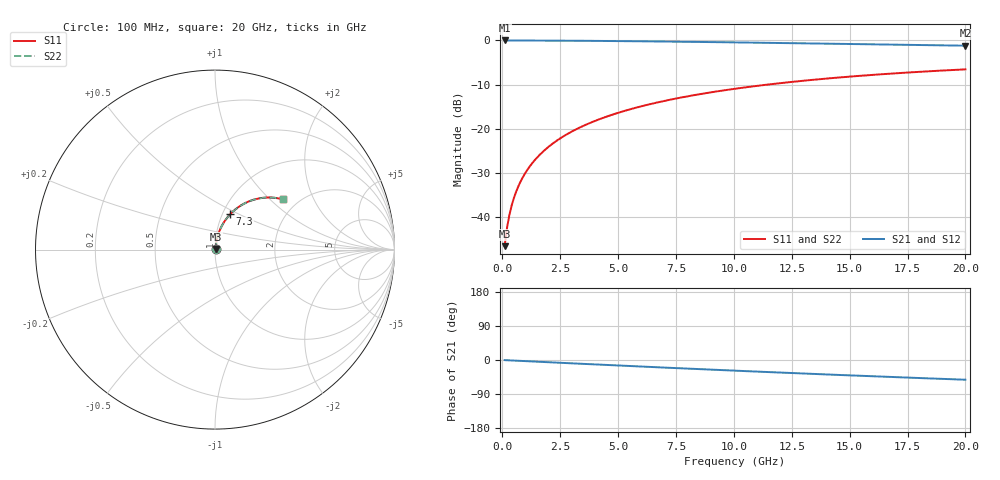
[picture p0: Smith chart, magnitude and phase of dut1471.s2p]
! Touchstone file exported from HFSS 2026.1.0
!  File:  C:/ffzhzh/LocalFiles/Ansys_Project_Files/temp_train_BSMRDL_1471_1783181106_22436.aedt
!  Generated:  12:06:29 AM Jul  5, 2026
!  Design:  BSMRDL
!  Project:  temp_train_BSMRDL_1471_1783181106_22436
! Variables:
!  h_bsmrdl = 4.64um
!  h_ox = 20um
!  h_rdl = 5um
!  h_sub = 80um
!  h_tmrdl = 5um
!  h_tsv = 80um
!  h_via = 3um
!  l_bsmrdl = 786.39um
!  l_sub = 1186.39um
!  l_tmrdl = 200um
!  m_sub = 200um
!  pitch = 48.1um
!  r_tsv = 6um
!  s_tmrdl = 10um
!  w_bsmrdl = 18.75um
!  w_sub = 500um
!  w_tmrdl = 12um
!  x_tsv_center1 = 206um
!  x_tsv_center2 = 1011.14um
!  x_tsv_center3 = 1223.14um
!  x_tsv_center4 = 2028.28um
!  x_tsv_center5 = 2240.28um
!  x_tsv_center6 = 3045.42um
# GHz S MA R 50.000000
! Terminal data exported
! Port[1] = BSM_RDL1_1_T1
! Port[2] = BSM_RDL1_1_T2
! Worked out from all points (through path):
!   200 points, 100 MHz to 20 GHz, reference 50 ohm
!   highest |S21| = -0.03 dB at 100 MHz (marker M1); lowest = -1.2 dB at 20 GHz (marker M2)
!   group delay of S21, straight-line fit = 7.23 ps
!   lowest |S11| = -46.5 dB at 100 MHz (marker M3), VSWR 1.01, Z = 50.3 + j0.338 ohm
!   |S11| at or under -10 dB: start of sweep to 11.45 GHz
!   |S22| runs from -46.5 to -6.6 dB; largest |S21 - S12| = 1.6e-14
!   S11 on the Smith chart (normalised r, x): 100 MHz: 1.01, +0.01; 7.3 GHz: 1.09, +0.45; 20 GHz: 1.67, +1.20
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0.1  0.004741 45.1  0.9967 -0.3  0.9967 -0.3  0.004741 45.1
! Gamma 0 0 0 0
! Port Impedance 50 0 50 0
0.2  0.007511 61.7  0.9965 -0.6  0.9965 -0.6  0.007511 61.7
0.3  0.01049 68.8  0.9963 -0.9  0.9963 -0.9  0.01049 68.8
0.4  0.01351 72.6  0.9962 -1.2  0.9962 -1.2  0.01351 72.6
0.5  0.01655 75.0  0.996 -1.5  0.996 -1.5  0.01655 75.0
0.6  0.01961 76.6  0.9959 -1.8  0.9959 -1.8  0.01961 76.6
0.8  0.02576 78.6  0.9956 -2.4  0.9956 -2.4  0.02576 78.6
1.1  0.03504 79.8  0.9952 -3.3  0.9952 -3.3  0.03504 79.8
1.5  0.04743 80.2  0.9944 -4.4  0.9944 -4.4  0.04743 80.2
1.8  0.05669 80.0  0.9938 -5.3  0.9938 -5.3  0.05669 80.0
2.1  0.06592 79.6  0.993 -6.2  0.993 -6.2  0.06592 79.6
2.7  0.08422 78.4  0.9911 -7.9  0.9911 -7.9  0.08422 78.4
3.5  0.1082 76.5  0.988 -10.2  0.988 -10.2  0.1082 76.5
4.2  0.1288 74.8  0.9849 -12.2  0.9849 -12.2  0.1288 74.8
5  0.1518 72.7  0.9809 -14.5  0.9809 -14.5  0.1518 72.7
6.8  0.2016 68.0  0.9706 -19.5  0.9706 -19.5  0.2016 68.0
7.3  0.2149 66.7  0.9674 -20.8  0.9674 -20.8  0.2149 66.7
8.6  0.2485 63.4  0.9586 -24.3  0.9586 -24.3  0.2485 63.3
10.1  0.2852 59.6  0.9477 -28.3  0.9477 -28.3  0.2852 59.5
13.4  0.358 51.5  0.9219 -36.7  0.9219 -36.7  0.358 51.4
16.7  0.4196 43.8  0.8953 -44.6  0.8953 -44.6  0.4196 43.7
20  0.4701 36.5  0.8699 -52.0  0.8699 -52.0  0.4702 36.4
